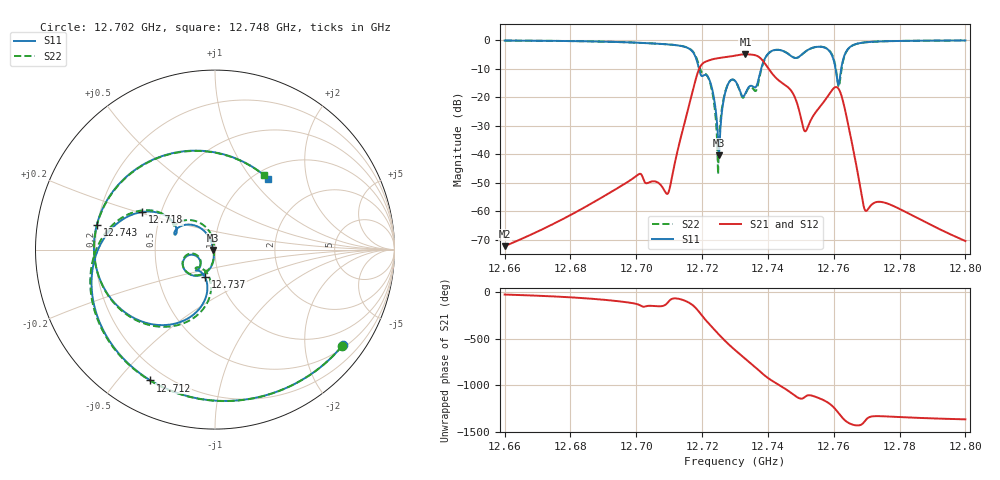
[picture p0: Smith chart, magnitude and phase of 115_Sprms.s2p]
! TOUCHSTONE file generated by CST MICROWAVE STUDIO
! Date and time: Wed Jul 31 16:34:59 2024
! Project name: WaveGuide_BPF-Ver4.1_U-shape_Ku_T3_C4_CWA_2.cst
! Parameters = {cavity_h=16; cavity_l0=10; cavity_l1=15.2232; cavity_l2=16.8202; cavity_l3=17.0699; cavity_l4=17.2261; cavity_l5=17.1183; cavity_l6=17.6368; cavity_r=2.5; cavity_screw_l=0.5; cavity_screw_r=1.5; cavity_w=8; iris_h00=0; iris_h01=8.8183; iris_h112=0; iris_h12=5.5982; iris_h211=3.6542; 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
! Header version: 2018
! Port assignment regex: !\s*Touchstone port\s*([0-9]+)\s*=\s*(CST MWS port|CST DS port)\s*([0-9]+|Zmin|Zmax)\s*\(\"(.*)\"\)(\s*mode\s*([0-9]+))?.*
! Touchstone port assignment:
! Touchstone port 1 = CST MWS port 1 ("")
! Touchstone port 2 = CST MWS port 2 ("")
# GHz S RI R 50
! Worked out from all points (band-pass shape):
!   5001 points, 12.66 GHz to 12.8 GHz, reference 50 ohm
!   highest |S21| = -5.00 dB at 12.733 GHz (marker M1); lowest = -72.2 dB at 12.66 GHz (marker M2)
!   |S21| within 3 dB of the highest: 12.72043 GHz to 12.73895 GHz (18.52 MHz wide, 0.145 % of centre)
!   lowest |S11| = -40.4 dB at 12.725 GHz (marker M3), VSWR 1.02, Z = 49.1 - j0.205 ohm
!   |S11| at or under -10 dB: 12.71904 GHz to 12.73796 GHz (18.92 MHz wide, 0.149 % of centre); 12.76055 GHz to 12.76228 GHz (1.729 MHz wide, 0.0135 % of centre)
!   |S22| runs from -47.0 to -0.2 dB; largest |S21 - S12| = 1e-09
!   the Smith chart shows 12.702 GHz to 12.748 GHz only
!   S11 on the Smith chart (normalised r, x): 12.702 GHz: 0.57, -2.91; 12.712 GHz: 0.14, -0.61; 12.718 GHz: 0.39, +0.21; 12.737 GHz: 0.86, -0.27; 12.743 GHz: 0.20, +0.10; 12.748 GHz: 1.16, +1.21
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12.66  0.4016 0.8921  0.000217 -0.000116  0.000217 -0.000116  0.404 0.8911
12.68335  0.8259 0.4757  0.000457 -0.000998  0.000457 -0.000998  0.8278 0.4723
12.70152  0.7127 -0.5326  -0.00387 -0.00216  -0.00387 -0.00216  0.7076 -0.5389
12.70668  0.294 -0.8085  -0.00285 -0.00139  -0.00285 -0.00139  0.2847 -0.8117
12.71202  -0.3598 -0.7287  0.00298 -0.00794  0.00298 -0.00794  -0.3686 -0.7255
12.7183  -0.404 0.2099  -0.2282 0.00191  -0.2282 0.00191  -0.4354 0.2131
12.72255  -0.1152 0.1352  0.4488 0.00791  0.4488 0.00791  -0.0812 0.1474
12.72513  -0.00937 -0.00208  -0.0643 -0.4797  -0.0643 -0.4797  -0.00451 -0.0145
12.72709  -0.0385 -0.1178  -0.4917 -0.0998  -0.4917 -0.0998  -0.0444 -0.1199
12.73  -0.179 -0.0733  -0.0679 0.5285  -0.0679 0.5285  -0.1802 -0.0654
12.73316  -0.0805 -0.0848  0.5617 0.0239  0.5617 0.0239  -0.0802 -0.0796
12.73666  -0.0553 -0.1543  -0.1156 -0.5154  -0.1156 -0.5154  -0.0426 -0.1342
12.73986  -0.3813 -0.4089  -0.3181 0.1067  -0.3181 0.1067  -0.3545 -0.423
12.74327  -0.6581 0.1389  0.0166 0.1961  0.0166 0.1961  -0.663 0.1134
12.74778  0.296 0.3955  0.1034 -0.0409  0.1034 -0.0409  0.2747 0.413
12.75335  -0.2167 -0.6907  0.0365 -0.0224  0.0365 -0.0224  -0.1941 -0.6966
12.75789  -0.6986 -0.0932  -0.0144 -0.0968  -0.0144 -0.0968  -0.703 -0.1283
12.76128  0.0928 0.1446  -0.1244 0.0738  -0.1244 0.0738  0.0514 0.1645
12.76436  -0.1341 -0.6857  0.0261 0.0214  0.0261 0.0214  -0.1345 -0.6792
12.76942  -0.7418 -0.5232  0.000625 0.00087  0.000625 0.00087  -0.7458 -0.518
12.77668  -0.9348 -0.1944  -0.000341 0.0013  -0.000341 0.0013  -0.9361 -0.1892
12.8  -0.9286 0.3201  8.19e-05 0.000292  8.19e-05 0.000292  -0.9274 0.3236
